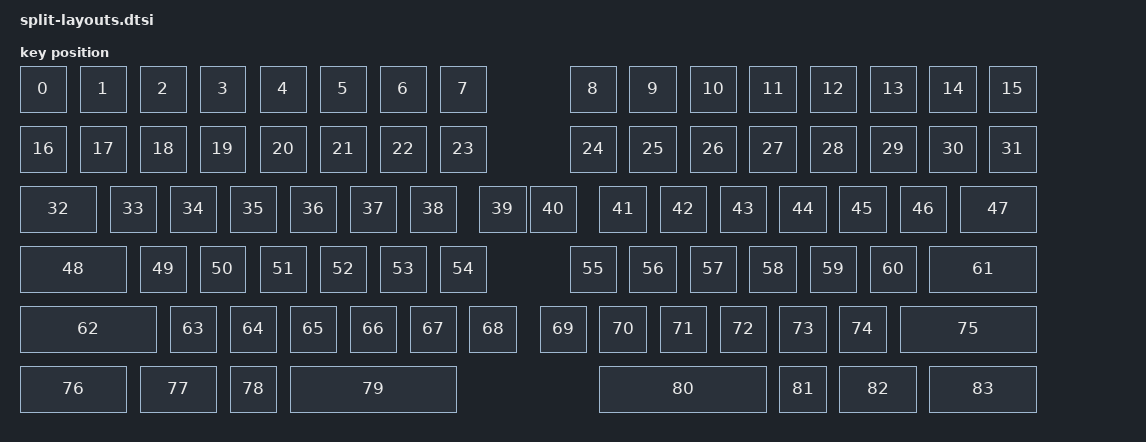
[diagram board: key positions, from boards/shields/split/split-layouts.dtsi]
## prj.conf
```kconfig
CONFIG_LOG=y
CONFIG_LOG_DEFAULT_LEVEL=4
CONFIG_GPIO_LOG_LEVEL_DBG=y

CONFIG_LOG_BACKEND_UART=y
CONFIG_UART_CONSOLE=y
CONFIG_UART_CONSOLE_ON_DEV_NAME = "UART_0"
CONFIG_UART_CONSOLE_BAUDRATE=115200
```

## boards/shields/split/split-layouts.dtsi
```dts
#include <physical_layouts.dtsi>

/ {
    physical_layout0: physical_layout0 {
        compatible = "zmk,physical-layout";
        display-name = "Split Layout";

        keys  //                     w   h    x    y     rot    rx    ry
            = <&key_physical_attrs 100 100    0    0       0     0     0>
            , <&key_physical_attrs 100 100  120    0       0     0     0>
            , <&key_physical_attrs 100 100  240    0       0     0     0>
            , <&key_physical_attrs 100 100  360    0       0     0     0>
            , <&key_physical_attrs 100 100  480    0       0     0     0>
            , <&key_physical_attrs 100 100  600    0       0     0     0>
            , <&key_physical_attrs 100 100  720    0       0     0     0>
            , <&key_physical_attrs 100 100  840    0       0     0     0>

            , <&key_physical_attrs 100 100 1100    0       0     0     0>
            , <&key_physical_attrs 100 100 1220    0       0     0     0>
            , <&key_physical_attrs 100 100 1340    0       0     0     0>
            , <&key_physical_attrs 100 100 1460    0       0     0     0>
            , <&key_physical_attrs 100 100 1580    0       0     0     0>
            , <&key_physical_attrs 100 100 1700    0       0     0     0>
            , <&key_physical_attrs 100 100 1820    0       0     0     0>
            , <&key_physical_attrs 100 100 1940    0       0     0     0>


            , <&key_physical_attrs 100 100    0  120       0     0     0>
            , <&key_physical_attrs 100 100  120  120       0     0     0>
            , <&key_physical_attrs 100 100  240  120       0     0     0>
            , <&key_physical_attrs 100 100  360  120       0     0     0>
            , <&key_physical_attrs 100 100  480  120       0     0     0>
            , <&key_physical_attrs 100 100  600  120       0     0     0>
            , <&key_physical_attrs 100 100  720  120       0     0     0>
            , <&key_physical_attrs 100 100  840  120       0     0     0>

            , <&key_physical_attrs 100 100 1100  120       0     0     0>
            , <&key_physical_attrs 100 100 1220  120       0     0     0>
            , <&key_physical_attrs 100 100 1340  120       0     0     0>
            , <&key_physical_attrs 100 100 1460  120       0     0     0>
            , <&key_physical_attrs 100 100 1580  120       0     0     0>
            , <&key_physical_attrs 100 100 1700  120       0     0     0>
            , <&key_physical_attrs 100 100 1820  120       0     0     0>
            , <&key_physical_attrs 100 100 1940  120       0     0     0>


            , <&key_physical_attrs 160 100    0  240       0     0     0>
            , <&key_physical_attrs 100 100  180  240       0     0     0>
            , <&key_physical_attrs 100 100  300  240       0     0     0>
            , <&key_physical_attrs 100 100  420  240       0     0     0>
            , <&key_physical_attrs 100 100  540  240       0     0     0>
            , <&key_physical_attrs 100 100  660  240       0     0     0>
            , <&key_physical_attrs 100 100  780  240       0     0     0>
            , <&key_physical_attrs 100 100  920  240       0     0     0>

            , <&key_physical_attrs 100 100 1020  240       0     0     0>
            , <&key_physical_attrs 100 100 1160  240       0     0     0>
            , <&key_physical_attrs 100 100 1280  240       0     0     0>
            , <&key_physical_attrs 100 100 1400  240       0     0     0>
            , <&key_physical_attrs 100 100 1520  240       0     0     0>
            , <&key_physical_attrs 100 100 1640  240       0     0     0>
            , <&key_physical_attrs 100 100 1760  240       0     0     0>
            , <&key_physical_attrs 160 100 1880  240       0     0     0>


            , <&key_physical_attrs 220 100    0  360       0     0     0>
            , <&key_physical_attrs 100 100  240  360       0     0     0>
            , <&key_physical_attrs 100 100  360  360       0     0     0>
            , <&key_physical_attrs 100 100  480  360       0     0     0>
            , <&key_physical_attrs 100 100  600  360       0     0     0>
            , <&key_physical_attrs 100 100  720  360       0     0     0>
            , <&key_physical_attrs 100 100  840  360       0     0     0>

            , <&key_physical_attrs 100 100 1100  360       0     0     0>
            , <&key_physical_attrs 100 100 1220  360       0     0     0>
            , <&key_physical_attrs 100 100 1340  360       0     0     0>
            , <&key_physical_attrs 100 100 1460  360       0     0     0>
            , <&key_physical_attrs 100 100 1580  360       0     0     0>
            , <&key_physical_attrs 100 100 1700  360       0     0     0>
            , <&key_physical_attrs 220 100 1820  360       0     0     0>


            , <&key_physical_attrs 280 100    0  480       0     0     0>
            , <&key_physical_attrs 100 100  300  480       0     0     0>
            , <&key_physical_attrs 100 100  420  480       0     0     0>
            , <&key_physical_attrs 100 100  540  480       0     0     0>
            , <&key_physical_attrs 100 100  660  480       0     0     0>
            , <&key_physical_attrs 100 100  780  480       0     0     0>
            , <&key_physical_attrs 100 100  900  480       0     0     0>

            , <&key_physical_attrs 100 100 1040  480       0     0     0>
            , <&key_physical_attrs 100 100 1160  480       0     0     0>
            , <&key_physical_attrs 100 100 1280  480       0     0     0>
            , <&key_physical_attrs 100 100 1400  480       0     0     0>
            , <&key_physical_attrs 100 100 1520  480       0     0     0>
            , <&key_physical_attrs 100 100 1640  480       0     0     0>
            , <&key_physical_attrs 280 100 1760  480       0     0     0>


            , <&key_physical_attrs 220 100    0  600       0     0     0>
            , <&key_physical_attrs 160 100  240  600       0     0     0>
            , <&key_physical_attrs 100 100  420  600       0     0     0>
            , <&key_physical_attrs 340 100  540  600       0     0     0>

            , <&key_physical_attrs 340 100 1160  600       0     0     0>
            , <&key_physical_attrs 100 100 1520  600       0     0     0>
            , <&key_physical_attrs 160 100 1640  600       0     0     0>
            , <&key_physical_attrs 220 100 1820  600       0     0     0>
            ;
    };
};
```

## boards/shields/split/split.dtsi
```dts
#include <dt-bindings/zmk/matrix_transform.h>
#include "split-layouts.dtsi"

/ {
    chosen {
        zmk,kscan = &kscan0;
        // A chosen matrix-transform is not allowed for studio support.
//        zmk,matrix-transform = &matrix_transform0;
        zmk,physical-layout = &physical_layout0;
        zmk,keymap = &keymap0;
    };

    kscan0: kscan0 {
        compatible = "zmk,kscan-gpio-matrix";
        diode-direction = "row2col";
        wakeup-source;
    };

    keymap {
        matrix_transform0: matrix_transform0 {
            compatible = "zmk,matrix-transform";
            columns = <14>;
            rows = <6>;
            map = <
    RC(4,6) RC(5,0) RC(5,1) RC(5,2) RC(5,3) RC(5,4) RC(5,5) RC(5,6)    RC(5,13) RC(5,12) RC(5,11) RC(5,10) RC(5,9)  RC(5,8)  RC(5,7)  RC(4,13)
    RC(0,0) RC(0,1) RC(0,2) RC(0,3) RC(0,4) RC(0,5) RC(0,6) RC(4,5)    RC(4,12) RC(0,13) RC(0,12) RC(0,11) RC(0,10) RC(0,9)  RC(0,8)  RC(0,7) 
    RC(1,0) RC(1,1) RC(1,2) RC(1,3) RC(1,4) RC(1,5) RC(1,6)   RC(4,4) RC(4,11)  RC(1,13) RC(1,12) RC(1,11) RC(1,10) RC(1,9)  RC(1,8)  RC(1,7)
            RC(2,0) RC(2,1) RC(2,2) RC(2,3) RC(2,4) RC(2,5) RC(2,6)    RC(2,13) RC(2,12) RC(2,11) RC(2,10) RC(2,9)  RC(2,8)  RC(2,7)
            RC(3,0) RC(3,1) RC(3,2) RC(3,3) RC(3,4) RC(3,5) RC(3,6)    RC(3,13) RC(3,12) RC(3,11) RC(3,10) RC(3,9)  RC(3,8)  RC(3,7)
                                    RC(4,0) RC(4,1) RC(4,2) RC(4,3)    RC(4,10) RC(4,9) RC(4,8) RC(4,7)
            >;
        };
    };

    left_encoder: left_encoder  {
        compatible = "alps,ec11";
        a-gpios = <&pro_micro 20 (GPIO_ACTIVE_HIGH | GPIO_PULL_UP)>;
        b-gpios = <&pro_micro 19 (GPIO_ACTIVE_HIGH | GPIO_PULL_UP)>;
        steps = <80>;
        status = "disabled";
    };

    right_encoder: right_encoder  {
        compatible = "alps,ec11";
        a-gpios = <&pro_micro 4 (GPIO_ACTIVE_HIGH | GPIO_PULL_UP)>;
        b-gpios = <&pro_micro 3 (GPIO_ACTIVE_HIGH | GPIO_PULL_UP)>;
        steps = <80>;
        status = "disabled";
    };

    sensors: sensors {
        compatible = "zmk,keymap-sensors";
        sensors = <&left_encoder &right_encoder>;
        triggers-per-rotation = <40>;
    };
};

&physical_layout0 {
    kscan = <&kscan0>;
    transform = <&matrix_transform0>;
};
```

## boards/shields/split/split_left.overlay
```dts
#include "split.dtsi"

&kscan0 {
    col-gpios
        = <&pro_micro 9  (GPIO_ACTIVE_LOW | GPIO_PULL_UP)>
        , <&pro_micro 8  (GPIO_ACTIVE_LOW | GPIO_PULL_UP)>
        , <&pro_micro 7  (GPIO_ACTIVE_LOW | GPIO_PULL_UP)>
        , <&pro_micro 6  (GPIO_ACTIVE_LOW | GPIO_PULL_UP)>
        , <&pro_micro 5  (GPIO_ACTIVE_LOW | GPIO_PULL_UP)>
        , <&pro_micro 4  (GPIO_ACTIVE_LOW | GPIO_PULL_UP)>
        , <&pro_micro 21 (GPIO_ACTIVE_LOW | GPIO_PULL_UP)>
        ;

    row-gpios
        = <&pro_micro 18 (GPIO_ACTIVE_LOW)>
        , <&pro_micro 15 (GPIO_ACTIVE_LOW)>
        , <&pro_micro 14 (GPIO_ACTIVE_LOW)>
        , <&pro_micro 16 (GPIO_ACTIVE_LOW)>
        , <&pro_micro 10 (GPIO_ACTIVE_LOW)>
        , <&pro_micro  1 (GPIO_ACTIVE_LOW)>
        ;
};

&left_encoder {
    status = "okay";
};
```

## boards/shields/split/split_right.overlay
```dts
#include "split.dtsi"

&kscan0 {
    col-gpios
        = <&pro_micro 19 (GPIO_ACTIVE_HIGH | GPIO_PULL_DOWN)>
        , <&pro_micro 18 (GPIO_ACTIVE_HIGH | GPIO_PULL_DOWN)>
        , <&pro_micro 15 (GPIO_ACTIVE_HIGH | GPIO_PULL_DOWN)>
        , <&pro_micro 14 (GPIO_ACTIVE_HIGH | GPIO_PULL_DOWN)>
        , <&pro_micro 16 (GPIO_ACTIVE_HIGH | GPIO_PULL_DOWN)>
        , <&pro_micro 10 (GPIO_ACTIVE_HIGH | GPIO_PULL_DOWN)>
        , <&pro_micro 2  (GPIO_ACTIVE_HIGH | GPIO_PULL_DOWN)>
        ;

    row-gpios
        = <&pro_micro 5  (GPIO_ACTIVE_HIGH)>
        , <&pro_micro 21 (GPIO_ACTIVE_HIGH)>
        , <&pro_micro 20 (GPIO_ACTIVE_HIGH)>
        , <&pro_micro 8  (GPIO_ACTIVE_HIGH)>
        , <&pro_micro 9  (GPIO_ACTIVE_HIGH)>
        , <&pro_micro 0  (GPIO_ACTIVE_HIGH)>
        ;
};

&matrix_transform0 {
    col-offset = <7>;
};

&right_encoder {
    status = "okay";
};
```

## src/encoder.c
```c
#include <logging/log.h>
LOG_MODULE_REGISTER(encoder);

void read_encoder_values() {
    int value = get_encoder_value();
    LOG_DBG("Current encoder value: %d", value);
}
```
